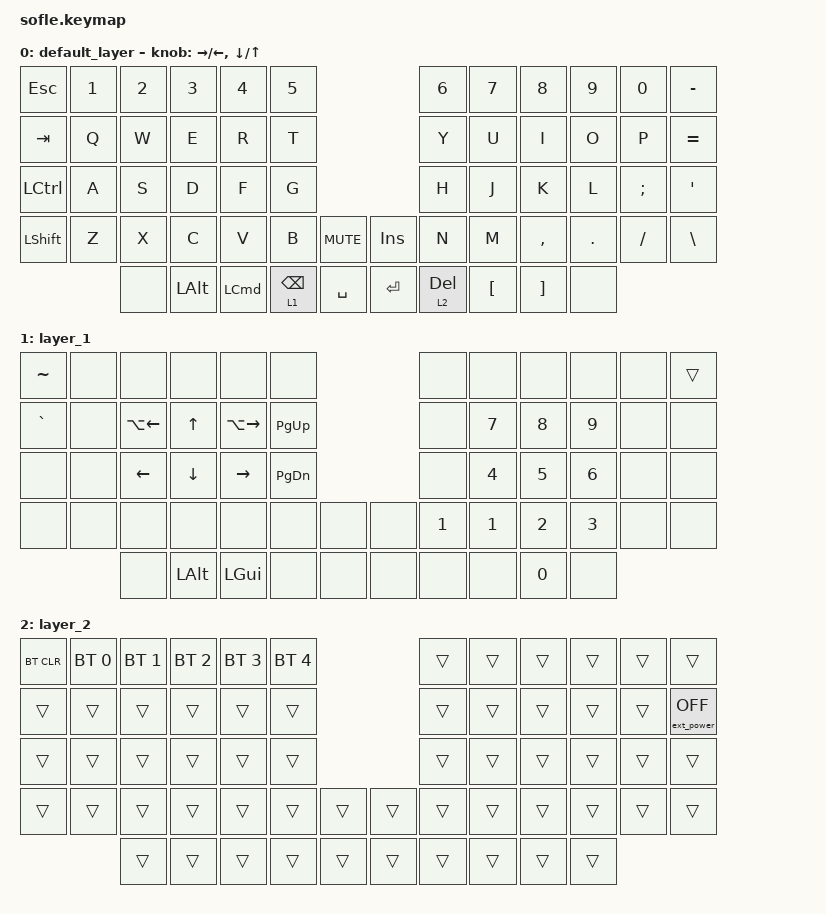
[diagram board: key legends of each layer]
/*
 * Copyright (c) 2020 The ZMK Contributors
 *
 * SPDX-License-Identifier: MIT
 */

#include <behaviors.dtsi>
#include <dt-bindings/zmk/bt.h>
#include <dt-bindings/zmk/ext_power.h>
#include <dt-bindings/zmk/keys.h>

#define BASE 0
#define LOWER 1
#define RAISE 2
#define ADJUST 3

/ {
    // Activate ADJUST layer by pressing raise and lower

    conditional_layers {
        compatible = "zmk,conditional-layers";

        adjust_layer {
            if-layers = <3 3>;
            then-layer = <3>;
        };
    };

    keymap {
        compatible = "zmk,keymap";

        default_layer {
            // ------------------------------------------------------------------------------------------------------------
            // |  ESC  |  1  |  2  |  3   |  4   |  5   |                   |  6   |  7    |  8    |  9   |   0   |   -   |
            // |  TAB  |  Q  |  W  |  E   |  R   |  T   |                   |  Y   |  U    |  I    |  O   |   P   | BKSPC |
            // | SHIFT |  A  |  S  |  D   |  F   |  G   |                   |  H   |  J    |  K    |  L   |   ;   |   '   |
            // | LCTRL |  Z  |  X  |  C   |  V   |  B   |  MUTE  |  |       |  N   |  M    |  ,    |  .   |   /   | SHIFT |
            //                     | GUI |  ALT  |LOWER | ENTER  |  | SPACE | RAISE |   [  |   ]   | 

            bindings = <
&kp ESC         &kp N1  &kp N2  &kp N3    &kp N4            &kp N5                                    &kp N6        &kp N7    &kp N8     &kp N9   &kp N0    &kp MINUS
&kp TAB         &kp Q   &kp W   &kp E     &kp R             &kp T                                     &kp Y         &kp U     &kp I      &kp O    &kp P     &kp EQUAL
&kp LCTRL       &kp A   &kp S   &kp D     &kp F             &kp G                                     &kp H         &kp J     &kp K      &kp L    &kp SEMI  &kp SQT
&kp LEFT_SHIFT  &kp Z   &kp X   &kp C     &kp V             &kp B            &kp C_MUTE    &kp INS    &kp N         &kp M     &kp COMMA  &kp DOT  &kp FSLH  &kp BACKSLASH
                        &none   &kp LALT  &kp LEFT_COMMAND  &lt 1 BACKSPACE  &kp SPACE     &kp ENTER  &lt 2 DELETE  &kp LBKT  &kp RBKT   &none
            >;

            sensor-bindings = <&inc_dec_kp RIGHT LEFT>, <&inc_dec_kp DOWN UP>;
        };

        // ------------------------------------------------------------------------------------------------------------
        // |BTCLR | BT1   | BT2   |  BT3  |  BT4  |  BT5  |                |      |      |       |      |       |       |
        // |      |       |       |       |       |       |                |      |      |       |      |       |       |
        // |      |       |       |       |       |       |                |      |      |       |      |       |       |
        // |      |       |       |       |       |       |       | |      |      |      |       |      |       |       |
        //                |       |       |       |       |       | |      |      |      |       |      |

        layer_1 {
            bindings = <
&kp TILDE  &none  &none         &none     &none          &none                          &none         &none         &none         &none         &none  &trans
&kp GRAVE  &none  &kp LA(LEFT)  &kp UP    &kp LA(RIGHT)  &kp PAGE_UP                    &none         &kp N7        &kp N8        &kp N9        &none  &none
&none      &none  &kp LEFT      &kp DOWN  &kp RIGHT      &kp PAGE_DOWN                  &none         &kp NUMBER_4  &kp N5        &kp NUMBER_6  &none  &none
&none      &none  &none         &none     &none          &none          &none    &none  &kp NUMBER_1  &kp NUMBER_1  &kp NUMBER_2  &kp NUMBER_3  &none  &none
                  &none         &kp LALT  &kp LGUI       &none          &none    &none  &none         &none         &kp N0        &none
            >;
        };

        layer_2 {
            bindings = <
&bt BT_CLR  &bt BT_SEL 0  &bt BT_SEL 1  &bt BT_SEL 2  &bt BT_SEL 3  &bt BT_SEL 4                    &trans  &trans  &trans  &trans  &trans  &trans
&trans      &trans        &trans        &trans        &trans        &trans                          &trans  &trans  &trans  &trans  &trans  &ext_power EP_OFF
&trans      &trans        &trans        &trans        &trans        &trans                          &trans  &trans  &trans  &trans  &trans  &trans
&trans      &trans        &trans        &trans        &trans        &trans        &trans    &trans  &trans  &trans  &trans  &trans  &trans  &trans
                          &trans        &trans        &trans        &trans        &trans    &trans  &trans  &trans  &trans  &trans
            >;
        };
    };
};
